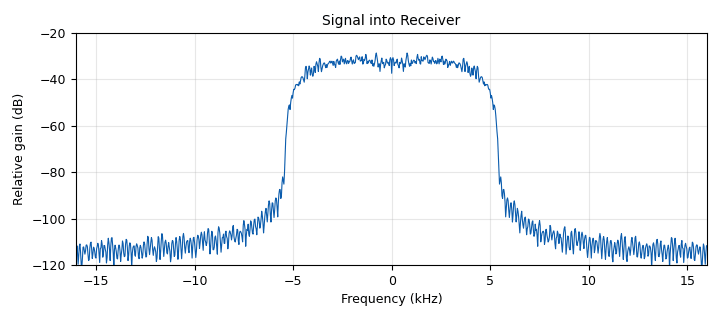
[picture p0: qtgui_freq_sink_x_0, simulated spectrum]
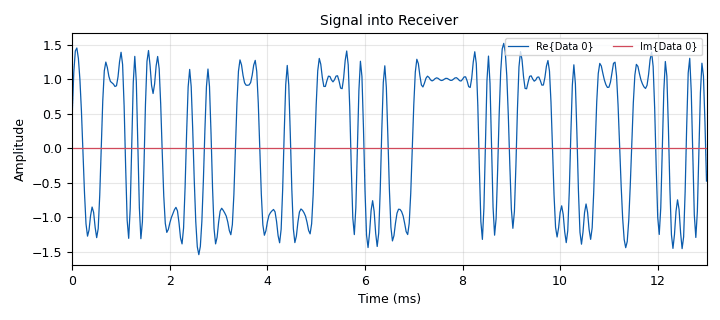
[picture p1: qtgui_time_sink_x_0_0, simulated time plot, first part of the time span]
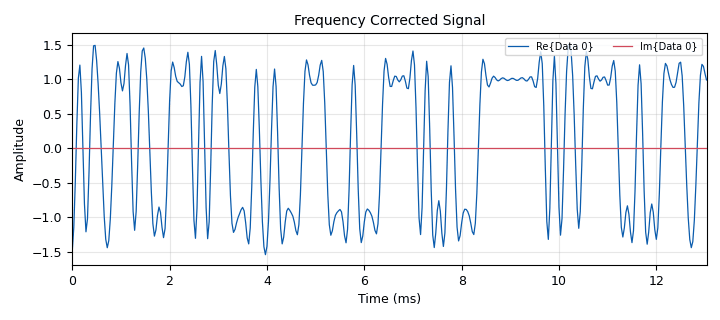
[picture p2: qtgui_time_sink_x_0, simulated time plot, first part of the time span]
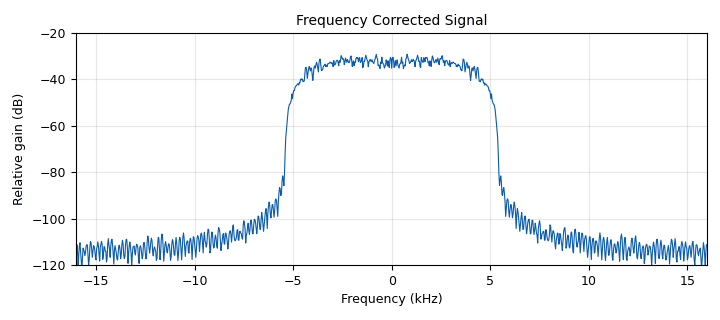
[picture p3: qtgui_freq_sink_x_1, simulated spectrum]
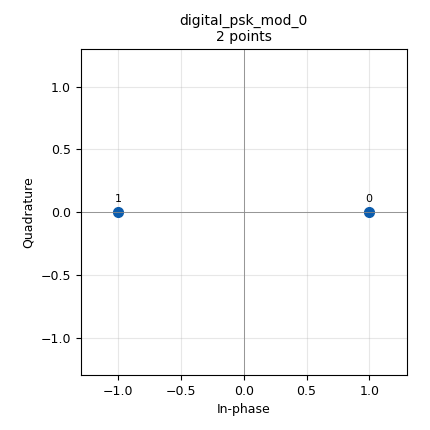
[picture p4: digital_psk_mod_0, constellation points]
<?xml version='1.0' encoding='utf-8'?>
<flow_graph>
<block>
<key>options</key>
<param><key>id</key><value>digital_freq_lock</value></param>
<param><key>generate_options</key><value>qt_gui</value></param>
<param><key>category</key><value>Custom</value></param>
</block>
<block>
<key>variable</key>
<param><key>id</key><value>samp_rate</value></param>
<param><key>value</key><value>32000</value></param>
</block>
<block>
<key>variable</key>
<param><key>id</key><value>rolloff</value></param>
<param><key>value</key><value>0.35</value></param>
</block>
<block>
<key>variable</key>
<param><key>id</key><value>sps</value></param>
<param><key>value</key><value>4</value></param>
</block>
<block>
<key>digital_psk_mod</key>
<param><key>id</key><value>digital_psk_mod_0</value></param>
<param><key>constellation_points</key><value>2</value></param>
<param><key>mod_code</key><value>"gray"</value></param>
<param><key>differential</key><value>False</value></param>
<param><key>samples_per_symbol</key><value>sps</value></param>
<param><key>excess_bw</key><value>rolloff</value></param>
</block>
<block>
<key>analog_random_source_x</key>
<param><key>id</key><value>analog_random_source_x</value></param>
<param><key>type</key><value>byte</value></param>
<param><key>min</key><value>0</value></param>
<param><key>max</key><value>256</value></param>
<param><key>num_samps</key><value>10000000</value></param>
<param><key>repeat</key><value>True</value></param>
</block>
<block>
<key>channels_channel_model</key>
<param><key>id</key><value>channels_channel_model_0</value></param>
<param><key>noise_voltage</key><value>noise_amp</value></param>
<param><key>freq_offset</key><value>freq_offset</value></param>
<param><key>epsilon</key><value>1.0</value></param>
<param><key>taps</key><value>1.0</value></param>
<param><key>seed</key><value>42</value></param>
</block>
<block>
<key>blocks_throttle</key>
<param><key>id</key><value>blocks_throttle_0</value></param>
<param><key>type</key><value>complex</value></param>
<param><key>samples_per_second</key><value>samp_rate</value></param>
</block>
<block>
<key>digital_fll_band_edge_cc</key>
<param><key>id</key><value>digital_fll_band_edge_cc_0</value></param>
<param><key>type</key><value>cc</value></param>
<param><key>samps_per_sym</key><value>sps</value></param>
<param><key>rolloff</key><value>rolloff</value></param>
<param><key>filter_size</key><value>44</value></param>
<param><key>w</key><value>freq_bw</value></param>
</block>
<block>
<key>variable_qtgui_range</key>
<param><key>id</key><value>noise_amp</value></param>
<param><key>label</key><value>Channel Noise</value></param>
<param><key>value</key><value>0</value></param>
<param><key>start</key><value>0</value></param>
<param><key>stop</key><value>1</value></param>
<param><key>step</key><value>0.01</value></param>
<param><key>orient</key><value>Qt.Horizontal</value></param>
<param><key>gui_hint</key><value>0, 0, 1, 1</value></param>
</block>
<block>
<key>qtgui_freq_sink_x</key>
<param><key>id</key><value>qtgui_freq_sink_x_0</value></param>
<param><key>type</key><value>complex</value></param>
<param><key>name</key><value>Signal into Receiver</value></param>
<param><key>fftsize</key><value>1024</value></param>
<param><key>wintype</key><value>firdes.WIN_BLACKMAN_hARRIS</value></param>
<param><key>fc</key><value>0</value></param>
<param><key>bw</key><value>samp_rate</value></param>
<param><key>average</key><value>0.1</value></param>
<param><key>ymin</key><value>-120</value></param>
<param><key>ymax</key><value>-20</value></param>
<param><key>gui_hint</key><value>notebook@0</value></param>
<param><key>showports</key><value>True</value></param>
</block>
<block>
<key>variable_qtgui_range</key>
<param><key>id</key><value>freq_offset</value></param>
<param><key>label</key><value>Frequency Offset</value></param>
<param><key>value</key><value>0</value></param>
<param><key>start</key><value>-.5</value></param>
<param><key>stop</key><value>.5</value></param>
<param><key>step</key><value>0.01</value></param>
<param><key>orient</key><value>Qt.Horizontal</value></param>
<param><key>gui_hint</key><value>0, 1, 1, 1</value></param>
</block>
<block>
<key>variable_qtgui_range</key>
<param><key>id</key><value>freq_bw</value></param>
<param><key>value</key><value>0</value></param>
<param><key>start</key><value>0</value></param>
<param><key>stop</key><value>0.1</value></param>
<param><key>step</key><value>0.001</value></param>
<param><key>orient</key><value>Qt.Horizontal</value></param>
<param><key>gui_hint</key><value>1, 0, 1, 2</value></param>
</block>
<block>
<key>qtgui_tab_widget</key>
<param><key>id</key><value>notebook</value></param>
<param><key>num_tabs</key><value>2</value></param>
<param><key>label0</key><value>Frequency</value></param>
<param><key>label1</key><value>Time</value></param>
<param><key>gui_hint</key><value>2, 0, 1, 2</value></param>
</block>
<block>
<key>qtgui_time_sink_x</key>
<param><key>id</key><value>qtgui_time_sink_x_0_0</value></param>
<param><key>type</key><value>complex</value></param>
<param><key>name</key><value>Signal into Receiver</value></param>
<param><key>size</key><value>1024</value></param>
<param><key>srate</key><value>samp_rate</value></param>
<param><key>autoscale</key><value>True</value></param>
<param><key>gui_hint</key><value>notebook@1</value></param>
<param><key>label1</key><value></value></param>
<param><key>color1</key><value>"blue"</value></param>
<param><key>label2</key><value></value></param>
<param><key>color2</key><value>"red"</value></param>
</block>
<block>
<key>qtgui_time_sink_x</key>
<param><key>id</key><value>qtgui_time_sink_x_0</value></param>
<param><key>type</key><value>complex</value></param>
<param><key>name</key><value>Frequency Corrected Signal</value></param>
<param><key>size</key><value>1024</value></param>
<param><key>srate</key><value>samp_rate</value></param>
<param><key>autoscale</key><value>True</value></param>
<param><key>gui_hint</key><value>notebook@1</value></param>
<param><key>label1</key><value></value></param>
<param><key>color1</key><value>"blue"</value></param>
<param><key>label2</key><value></value></param>
<param><key>color2</key><value>"red"</value></param>
</block>
<block>
<key>qtgui_freq_sink_x</key>
<param><key>id</key><value>qtgui_freq_sink_x_1</value></param>
<param><key>type</key><value>complex</value></param>
<param><key>name</key><value>Frequency Corrected Signal</value></param>
<param><key>fftsize</key><value>1024</value></param>
<param><key>wintype</key><value>firdes.WIN_BLACKMAN_hARRIS</value></param>
<param><key>fc</key><value>0</value></param>
<param><key>bw</key><value>samp_rate</value></param>
<param><key>average</key><value>0.1</value></param>
<param><key>ymin</key><value>-120</value></param>
<param><key>ymax</key><value>-20</value></param>
<param><key>gui_hint</key><value>notebook@0</value></param>
<param><key>showports</key><value>True</value></param>
</block>
<connection><source_block_id>analog_random_source_x</source_block_id><sink_block_id>digital_psk_mod_0</sink_block_id><source_key>0</source_key><sink_key>0</sink_key></connection>
<connection><source_block_id>digital_psk_mod_0</source_block_id><sink_block_id>blocks_throttle_0</sink_block_id><source_key>0</source_key><sink_key>0</sink_key></connection>
<connection><source_block_id>blocks_throttle_0</source_block_id><sink_block_id>channels_channel_model_0</sink_block_id><source_key>0</source_key><sink_key>0</sink_key></connection>
<connection><source_block_id>channels_channel_model_0</source_block_id><sink_block_id>digital_fll_band_edge_cc_0</sink_block_id><source_key>0</source_key><sink_key>0</sink_key></connection>
<connection><source_block_id>channels_channel_model_0</source_block_id><sink_block_id>qtgui_freq_sink_x_0</sink_block_id><source_key>0</source_key><sink_key>0</sink_key></connection>
<connection><source_block_id>channels_channel_model_0</source_block_id><sink_block_id>qtgui_time_sink_x_0_0</sink_block_id><source_key>0</source_key><sink_key>0</sink_key></connection>
<connection><source_block_id>digital_fll_band_edge_cc_0</source_block_id><sink_block_id>qtgui_time_sink_x_0</sink_block_id><source_key>0</source_key><sink_key>0</sink_key></connection>
<connection><source_block_id>digital_fll_band_edge_cc_0</source_block_id><sink_block_id>qtgui_freq_sink_x_1</sink_block_id><source_key>0</source_key><sink_key>0</sink_key></connection>
</flow_graph>
